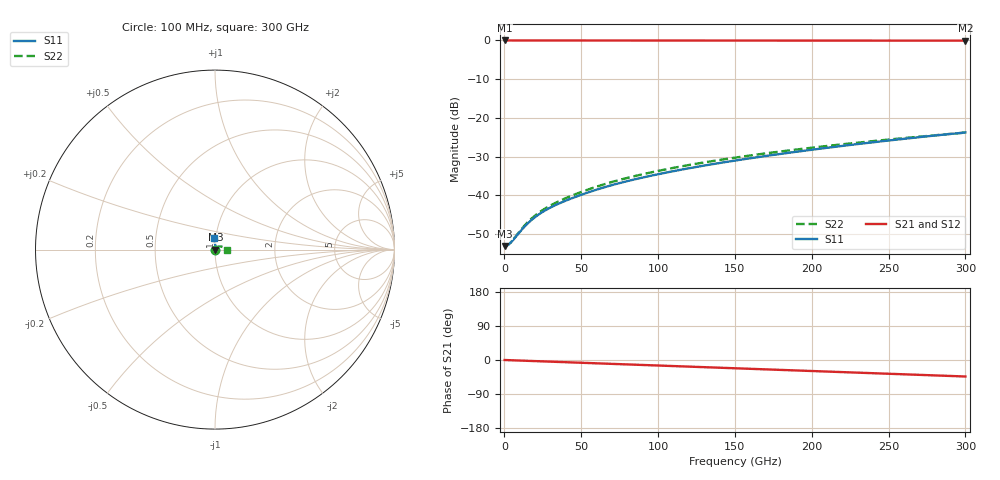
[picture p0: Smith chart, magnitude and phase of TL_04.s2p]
#  Hz  S  RI  R  50
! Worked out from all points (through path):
!   3000 points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, 100 MHz to 300 GHz, reference 50 ohm
!   highest |S21| = -0.02 dB at 100 MHz (marker M1); lowest = -0.1 dB at 300 GHz (marker M2)
!   group delay of S21, straight-line fit = 403 fs
!   lowest |S11| = -53.1 dB at 100 MHz (marker M3), VSWR 1.00, Z = 50.2 + j0.00244 ohm
!   |S11| at or under -10 dB: start of sweep to end of sweep
!   |S22| runs from -53.1 to -23.8 dB; largest |S21 - S12| = 0.00059
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1e8  0.00221 2.42e-05  0.9978 -0.00026  0.9978 -0.00026  0.0022 2.43e-05
1.8e9  0.00221 0.000436  0.9978 -0.00469  0.9978 -0.00468  0.00221 0.000436
3.6e9  0.00223 0.00087  0.9977 -0.00937  0.9977 -0.00936  0.00224 0.00087
5.8e9  0.00227 0.00139  0.9976 -0.0151  0.9976 -0.0151  0.00231 0.00139
1.13e10  0.00244 0.00265  0.9971 -0.0293  0.9971 -0.0293  0.00259 0.00265
1.44e10  0.00255 0.00332  0.9967 -0.0372  0.9967 -0.0372  0.00281 0.0033
1.85e10  0.00272 0.00415  0.996 -0.0477  0.996 -0.0477  0.00315 0.00412
2.3e10  0.00289 0.005  0.9952 -0.059  0.9952 -0.059  0.00354 0.00494
2.82e10  0.00305 0.00592  0.9942 -0.0721  0.9942 -0.0721  0.00402 0.00582
3.42e10  0.00317 0.00694  0.9928 -0.0871  0.9928 -0.0871  0.00457 0.00677
4.15e10  0.00322 0.00817  0.9909 -0.1054  0.9909 -0.1054  0.00527 0.00788
5.01e10  0.0032 0.00965  0.9883 -0.1269  0.9883 -0.1269  0.00615 0.00919
6.13e10  0.00313 0.0116  0.9841 -0.1549  0.9841 -0.1549  0.00751 0.0108
7.29e10  0.00303 0.0137  0.9789 -0.1836  0.9789 -0.1837  0.00917 0.0124
8.56e10  0.00286 0.0159  0.9722 -0.2149  0.9722 -0.2149  0.0112 0.0139
1.001e11  0.00254 0.0185  0.9635 -0.2503  0.9635 -0.2504  0.0138 0.0154
1.237e11  0.00184 0.0229  0.9465 -0.3073  0.9465 -0.3073  0.0186 0.0171
1.501e11  0.000841 0.0281  0.9236 -0.3696  0.9236 -0.3696  0.0248 0.018
1.742e11  -0.000236 0.033  0.899 -0.425  0.899 -0.4251  0.0309 0.0177
2.001e11  -0.00149 0.0387  0.8689 -0.4827  0.8688 -0.4829  0.0379 0.0161
2.501e11  -0.00396 0.0508  0.8004 -0.5882  0.8001 -0.5883  0.0517 0.00891
3e11  -0.00602 0.0644  0.7191 -0.6837  0.7185 -0.6837  0.0643 -0.00387
